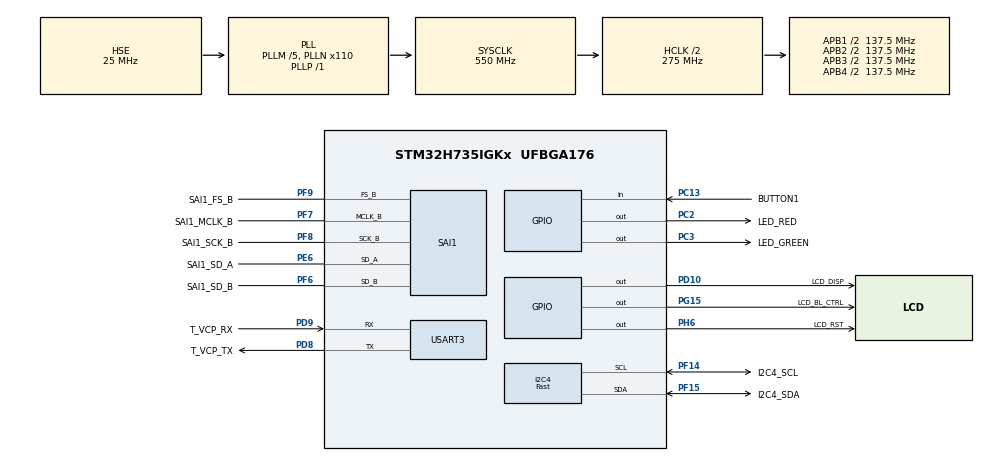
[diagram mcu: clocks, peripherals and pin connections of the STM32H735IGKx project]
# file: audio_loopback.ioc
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CORTEX_M7.CPU_DCache=Enabled
CORTEX_M7.CPU_ICache=Enabled
CORTEX_M7.IsBufferable_Spec=MPU_ACCESS_BUFFERABLE
CORTEX_M7.default_mode_Activation=1
Dma.Request0=SAI1_A
Dma.Request1=SAI1_B
Dma.SAI1_A.0.Direction=DMA_PERIPH_TO_MEMORY
Dma.SAI1_A.0.EventEnable=DISABLE
Dma.SAI1_A.0.FIFOMode=DMA_FIFOMODE_DISABLE
Dma.SAI1_A.0.Instance=DMA1_Stream0
Dma.SAI1_A.0.MemDataAlignment=DMA_MDATAALIGN_HALFWORD
Dma.SAI1_A.0.MemInc=DMA_MINC_ENABLE
Dma.SAI1_A.0.Mode=DMA_CIRCULAR
Dma.SAI1_A.0.PeriphDataAlignment=DMA_PDATAALIGN_HALFWORD
Dma.SAI1_A.0.PeriphInc=DMA_PINC_DISABLE
Dma.SAI1_A.0.Polarity=HAL_DMAMUX_REQ_GEN_RISING
Dma.SAI1_A.0.Priority=DMA_PRIORITY_HIGH
Dma.SAI1_A.0.RequestNumber=1
Dma.SAI1_A.0.SignalID=NONE
Dma.SAI1_A.0.SyncEnable=DISABLE
Dma.SAI1_A.0.SyncPolarity=HAL_DMAMUX_SYNC_NO_EVENT
Dma.SAI1_A.0.SyncRequestNumber=1
Dma.SAI1_A.0.SyncSignalID=NONE
Dma.SAI1_B.1.Direction=DMA_MEMORY_TO_PERIPH
Dma.SAI1_B.1.EventEnable=DISABLE
Dma.SAI1_B.1.FIFOMode=DMA_FIFOMODE_DISABLE
Dma.SAI1_B.1.Instance=DMA1_Stream1
Dma.SAI1_B.1.MemDataAlignment=DMA_MDATAALIGN_HALFWORD
Dma.SAI1_B.1.MemInc=DMA_MINC_ENABLE
Dma.SAI1_B.1.Mode=DMA_CIRCULAR
Dma.SAI1_B.1.PeriphDataAlignment=DMA_PDATAALIGN_HALFWORD
Dma.SAI1_B.1.PeriphInc=DMA_PINC_DISABLE
Dma.SAI1_B.1.Polarity=HAL_DMAMUX_REQ_GEN_RISING
Dma.SAI1_B.1.Priority=DMA_PRIORITY_HIGH
Dma.SAI1_B.1.RequestNumber=1
Dma.SAI1_B.1.SignalID=NONE
Dma.SAI1_B.1.SyncEnable=DISABLE
Dma.SAI1_B.1.SyncPolarity=HAL_DMAMUX_SYNC_NO_EVENT
Dma.SAI1_B.1.SyncRequestNumber=1
Dma.SAI1_B.1.SyncSignalID=NONE
I2C4.I2C_Speed_Mode=I2C_Fast
I2C4.Timing=0x0000020B
Mcu.Family=STM32H7
Mcu.Name=STM32H735IGKx
Mcu.Package=UFBGA176
NVIC.DMA1_Stream0_IRQn=true\:0\:0\:false\:false\:true\:false\:true\:true
NVIC.DMA1_Stream1_IRQn=true\:0\:0\:false\:false\:true\:false\:true\:true
NVIC.PriorityGroup=NVIC_PRIORITYGROUP_4
PA13(JTMS/SWDIO).GPIO_Label=JTMS
PA13(JTMS/SWDIO).Mode=Serial_Wire
PA13(JTMS/SWDIO).Signal=DEBUG_JTMS-SWDIO
PA14(JTCK/SWCLK).GPIO_Label=JTCK
PA14(JTCK/SWCLK).Mode=Serial_Wire
PA14(JTCK/SWCLK).Signal=DEBUG_JTCK-SWCLK
PC13.GPIO_Label=BUTTON1
PC13.Signal=GPIO_Input
PC14-OSC32_IN.Mode=LSE-External-Oscillator
PC14-OSC32_IN.Signal=RCC_OSC32_IN
PC15-OSC32_OUT.Mode=LSE-External-Oscillator
PC15-OSC32_OUT.Signal=RCC_OSC32_OUT
PC2.GPIO_Label=LED_RED
PC2.PinState=GPIO_PIN_SET
PC2.Signal=GPIO_Output
PC3.GPIO_Label=LED_GREEN
PC3.PinState=GPIO_PIN_SET
PC3.Signal=GPIO_Output
PD10.GPIO_Label=LCD_DISP
PD10.GPIO_Speed=GPIO_SPEED_FREQ_LOW
PD10.Signal=GPIO_Output
PD8.GPIO_Label=T_VCP_TX
PD8.GPIO_PuPd=GPIO_NOPULL
PD8.Mode=Asynchronous
PD8.Signal=USART3_TX
PD9.GPIO_Label=T_VCP_RX
PD9.GPIO_PuPd=GPIO_NOPULL
PD9.Mode=Asynchronous
PD9.Signal=USART3_RX
PE6.GPIO_Label=SAI1_SD_A
PE6.Mode=SAI_A_SyncSlave
PE6.Signal=SAI1_SD_A
PF14.GPIO_Label=I2C4_SCL
PF14.GPIO_Pu=GPIO_PULLUP
PF14.Mode=I2C
PF14.Signal=I2C4_SCL
PF15.GPIO_Label=I2C4_SDA
PF15.GPIO_Pu=GPIO_PULLUP
PF15.Mode=I2C
PF15.Signal=I2C4_SDA
PF6.GPIO_Label=SAI1_SD_B
PF6.Mode=SAI_B_MasterWithClock
PF6.Signal=SAI1_SD_B
PF7.GPIO_Label=SAI1_MCLK_B
PF7.Mode=SAI_B_MasterWithClock
PF7.Signal=SAI1_MCLK_B
PF8.GPIO_Label=SAI1_SCK_B
PF8.Mode=SAI_B_MasterWithClock
PF8.Signal=SAI1_SCK_B
PF9.GPIO_Label=SAI1_FS_B
PF9.Mode=SAI_B_MasterWithClock
PF9.Signal=SAI1_FS_B
PG15.GPIO_Label=LCD_BL_CTRL
PG15.GPIO_Speed=GPIO_SPEED_FREQ_LOW
PG15.Signal=GPIO_Output
PH0-OSC_IN.Mode=HSE-External-Oscillator
PH0-OSC_IN.Signal=RCC_OSC_IN
PH1-OSC_OUT.Mode=HSE-External-Oscillator
PH1-OSC_OUT.Signal=RCC_OSC_OUT
PH6.GPIO_Label=LCD_RST
PH6.GPIO_Speed=GPIO_SPEED_FREQ_LOW
PH6.Signal=GPIO_Output
ProjectManager.HeapSize=0x200
ProjectManager.StackSize=0x400
ProjectManager.TargetToolchain=STM32CubeIDE
RCC.ADCFreq_Value=11291666.666666666
RCC.APB1Freq_Value=137500000
RCC.APB2Freq_Value=137500000
RCC.APB3Freq_Value=137500000
RCC.APB4Freq_Value=137500000
RCC.CortexFreq_Value=550000000
RCC.D1PPRE=RCC_APB3_DIV2
RCC.D2PPRE1=RCC_APB1_DIV2
RCC.D2PPRE2=RCC_APB2_DIV2
RCC.D3PPRE=RCC_APB4_DIV2
RCC.DIVM1=5
RCC.DIVM2=25
RCC.DIVM3=5
RCC.DIVN1=110
RCC.DIVN2=271
RCC.DIVN3=48
RCC.DIVP1=1
RCC.DIVP2=24
RCC.DIVP3=30
RCC.DIVQ1=4
RCC.DIVQ3=30
RCC.DIVR3=30
RCC.HCLKFreq_Value=275000000
RCC.HPRE=RCC_HCLK_DIV2
RCC.I2C4CLockSelection=RCC_I2C4CLKSOURCE_PLL3
RCC.PLL2FRACN=0
RCC.PLL3FRACN=0
RCC.PLLFRACN=0
RCC.PLLSourceVirtual=RCC_PLLSOURCE_HSE
RCC.SAI1CLockSelection=RCC_SAI1CLKSOURCE_PLL2
RCC.SYSCLKFreq_VALUE=550000000
RCC.SYSCLKSource=RCC_SYSCLKSOURCE_PLLCLK
RCC.USART234578CLockSelection=RCC_USART234578CLKSOURCE_PLL3
RCC.USBCLockSelection=RCC_USBCLKSOURCE_HSI48
RCC.USBFreq_Value=48000000
SAI1.ActiveFrameLength-SAI_A_SyncSlave=32
SAI1.ActiveFrameLength-SAI_B_MasterWithClock=32
SAI1.AudioFrequency-SAI_B_MasterWithClock=SAI_AUDIO_FREQUENCY_44K
SAI1.DataSize-SAI_A_SyncSlave=SAI_DATASIZE_16
SAI1.DataSize-SAI_B_MasterWithClock=SAI_DATASIZE_16
SAI1.ErrorAudioFreq-SAI_B_MasterWithClock=0.24 %
SAI1.FIFOThreshold-SAI_B_MasterWithClock=SAI_FIFOTHRESHOLD_EMPTY
SAI1.FSDefinition-SAI_A_SyncSlave=SAI_FS_CHANNEL_IDENTIFICATION
SAI1.FSDefinition-SAI_B_MasterWithClock=SAI_FS_CHANNEL_IDENTIFICATION
SAI1.FSOffset-SAI_A_SyncSlave=SAI_FS_BEFOREFIRSTBIT
SAI1.FSOffset-SAI_B_MasterWithClock=SAI_FS_BEFOREFIRSTBIT
SAI1.FrameLength-SAI_A_SyncSlave=64
SAI1.FrameLength-SAI_B_MasterWithClock=64
SAI1.Instance-SAI_A_SyncSlave=SAI$Index_Block_A
SAI1.Instance-SAI_B_MasterWithClock=SAI$Index_Block_B
SAI1.MckOutput-SAI_B_MasterWithClock=SAI_MCK_OUTPUT_ENABLE
SAI1.RealAudioFreq-SAI_B_MasterWithClock=44.108 KHz
SAI1.SlotActive-SAI_A_SyncSlave=0x0000000F
SAI1.SlotActive-SAI_B_MasterWithClock=0x0000000F
SAI1.SlotNumber-SAI_A_SyncSlave=4
SAI1.SlotNumber-SAI_B_MasterWithClock=4
SAI1.TriState-SAI_A_SyncSlave=SAI_OUTPUT_RELEASED
SAI1.VirtualMode-SAI_A_SyncSlave=VM_SLAVE
SAI1.VirtualMode-SAI_B_MasterWithClock=VM_MASTER
SAI1.VirtualSlotActive-SAI_A_SyncSlave=SAI_SLOT_USERSETTING
SAI1.VirtualSlotActive-SAI_B_MasterWithClock=SAI_SLOT_USERSETTING
SAI1.VirtualSlotActive0-SAI_A_SyncSlave=true
SAI1.VirtualSlotActive0-SAI_B_MasterWithClock=true
SAI1.VirtualSlotActive1-SAI_A_SyncSlave=true
SAI1.VirtualSlotActive1-SAI_B_MasterWithClock=true
SAI1.VirtualSlotActive2-SAI_A_SyncSlave=true
SAI1.VirtualSlotActive2-SAI_B_MasterWithClock=true
SAI1.VirtualSlotActive3-SAI_A_SyncSlave=true
SAI1.VirtualSlotActive3-SAI_B_MasterWithClock=true
USART3.VirtualMode-Asynchronous=VM_ASYNC
board=STM32H735G-DK

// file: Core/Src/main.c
/* USER CODE BEGIN Header */
/**
  ******************************************************************************
  * @file           : main.c
  * @brief          : Main program body
  ******************************************************************************
  * @attention
  *
  * Copyright (c) 2022 STMicroelectronics.
  * All rights reserved.
  *
  * This software is licensed under terms that can be found in the LICENSE file
  * in the root directory of this software component.
  * If no LICENSE file comes with this software, it is provided AS-IS.
  *
  ******************************************************************************
  */
/* USER CODE END Header */
#include "main.h"
#include "dma.h"
#include "i2c.h"
#include "sai.h"
#include "usart.h"
#include "gpio.h"

/* USER CODE BEGIN Includes */

#include <stdio.h>
#include <string.h>
#include "../../Drivers/BSP/Components/wm8994/wm8994.h"

/* USER CODE END Includes */

/* USER CODE BEGIN PV */
typedef enum {
    BUFFER_OFFSET_NONE = 0,
    BUFFER_OFFSET_HALF = 1,
    BUFFER_OFFSET_FULL = 2,
} BUFFER_StateTypeDef;

#define AUDIO_BUFFER_SIZE  4096

volatile BUFFER_StateTypeDef audio_rec_buffer_state;

/* Buffer containing the PCM samples coming from the microphone */
int16_t RecordBuffer[AUDIO_BUFFER_SIZE] __ALIGNED(__SCB_DCACHE_LINE_SIZE);

/* Buffer used to stream the recorded PCM samples towards the audio codec. */
int16_t PlaybackBuffer[AUDIO_BUFFER_SIZE] __ALIGNED(__SCB_DCACHE_LINE_SIZE);

/* USER CODE END PV */

void SystemClock_Config(void);
void PeriphCommonClock_Config(void);
static void MPU_Config(void);

int main(void)
{

  /* MPU Configuration--------------------------------------------------------*/
  MPU_Config();

  /* Enable I-Cache---------------------------------------------------------*/
  SCB_EnableICache();

  /* Enable D-Cache---------------------------------------------------------*/
  SCB_EnableDCache();

  /* MCU Configuration--------------------------------------------------------*/

  /* Reset of all peripherals, Initializes the Flash interface and the Systick. */
  HAL_Init();

  /* Configure the system clock */
  SystemClock_Config();

/* Configure the peripherals common clocks */
  PeriphCommonClock_Config();

  /* Initialize all configured peripherals */
  MX_GPIO_Init();
  MX_DMA_Init();
  MX_I2C4_Init();
  MX_SAI1_Init();
  MX_USART3_UART_Init();
  /* USER CODE BEGIN 2 */
    printf("STM32F769I-Discovery Audio Loopback demo\r\n\r\n");

    /* Enable SAI peripheral to generate MCLK (required to start talking to codec!) */
    if (HAL_SAI_Transmit_DMA(&hsai_BlockB1, (uint8_t *) PlaybackBuffer, AUDIO_BUFFER_SIZE) != HAL_OK) {
        printf("SAI transmit start error\r\n");
        Error_Handler();
    }
    printf("SAI transmit start OK\r\n");

    if (HAL_SAI_Receive_DMA(&hsai_BlockA1, (uint8_t *) RecordBuffer, AUDIO_BUFFER_SIZE) != HAL_OK) {
        printf("SAI receive error\r\n");
        Error_Handler();
    }
    printf("SAI receive start OK\r\n");

    /* Initialize Audio Recorder with 4 channels to be used */
    if ((wm8994_ReadID(AUDIO_I2C_ADDRESS)) == CODEC_WM8994_ID) {
        /* Reset the Codec Registers */
        wm8994_Reset(AUDIO_I2C_ADDRESS);
        /* Initialize the audio driver structure */
        printf("Audio codec initialization OK\r\n");
    } else {
        printf("Audio codec initialization failed.\r\n");
        Error_Handler();
    }

    /* Initialize the codec internal registers */
    wm8994_Init(AUDIO_I2C_ADDRESS,
                CODEC_IN_LINE_1 | CODEC_OUT_HEADPHONE, 100, SAI_AUDIO_FREQUENCY_44K);

    /* Play the recorded buffer */
    if (wm8994_Play(AUDIO_I2C_ADDRESS) != 0) {
        printf("Codec play error\r\n");
        Error_Handler();
    } else {
    }
    printf("Audio loopback is ACTIVE!\r\n\r\n");

    audio_rec_buffer_state = BUFFER_OFFSET_NONE;
  /* USER CODE END 2 */

  /* Infinite loop */
  while (1)
  {

    /* USER CODE BEGIN 3 */
      HAL_GPIO_TogglePin(LED_GREEN_GPIO_Port, LED_GREEN_Pin);

      while(audio_rec_buffer_state == BUFFER_OFFSET_NONE);

      /* Copy half of the record buffer to the playback buffer */
      if (audio_rec_buffer_state == BUFFER_OFFSET_HALF) {
          SCB_InvalidateDCache_by_Addr((uint32_t *) RecordBuffer, sizeof(RecordBuffer) / 2);

          memcpy(PlaybackBuffer, RecordBuffer, sizeof(PlaybackBuffer) / 2);

          SCB_CleanDCache_by_Addr((uint32_t *) (PlaybackBuffer), sizeof(PlaybackBuffer) / 2);

      } else {
          SCB_InvalidateDCache_by_Addr((uint32_t *) (RecordBuffer + AUDIO_BUFFER_SIZE / 2), sizeof(RecordBuffer) / 2);

          memcpy(PlaybackBuffer + AUDIO_BUFFER_SIZE / 2, RecordBuffer + AUDIO_BUFFER_SIZE / 2,
                 sizeof(PlaybackBuffer) / 2);

          SCB_CleanDCache_by_Addr((uint32_t *) (PlaybackBuffer + AUDIO_BUFFER_SIZE / 2), sizeof(PlaybackBuffer) / 2);

      }

      /* Wait for next data */
      audio_rec_buffer_state = BUFFER_OFFSET_NONE;

  }
  /* USER CODE END 3 */
}

void SystemClock_Config(void)
{
  RCC_OscInitTypeDef RCC_OscInitStruct = {0};
  RCC_ClkInitTypeDef RCC_ClkInitStruct = {0};

  /** Supply configuration update enable
  */
  HAL_PWREx_ConfigSupply(PWR_DIRECT_SMPS_SUPPLY);

  /** Configure the main internal regulator output voltage
  */
  __HAL_PWR_VOLTAGESCALING_CONFIG(PWR_REGULATOR_VOLTAGE_SCALE0);

  while(!__HAL_PWR_GET_FLAG(PWR_FLAG_VOSRDY)) {}

  /** Macro to configure the PLL clock source
  */
  __HAL_RCC_PLL_PLLSOURCE_CONFIG(RCC_PLLSOURCE_HSE);

  /** Initializes the RCC Oscillators according to the specified parameters
  * in the RCC_OscInitTypeDef structure.
  */
  RCC_OscInitStruct.OscillatorType = RCC_OSCILLATORTYPE_HSE;
  RCC_OscInitStruct.HSEState = RCC_HSE_ON;
  RCC_OscInitStruct.PLL.PLLState = RCC_PLL_ON;
  RCC_OscInitStruct.PLL.PLLSource = RCC_PLLSOURCE_HSE;
  RCC_OscInitStruct.PLL.PLLM = 5;
  RCC_OscInitStruct.PLL.PLLN = 110;
  RCC_OscInitStruct.PLL.PLLP = 1;
  RCC_OscInitStruct.PLL.PLLQ = 4;
  RCC_OscInitStruct.PLL.PLLR = 2;
  RCC_OscInitStruct.PLL.PLLRGE = RCC_PLL1VCIRANGE_2;
  RCC_OscInitStruct.PLL.PLLVCOSEL = RCC_PLL1VCOWIDE;
  RCC_OscInitStruct.PLL.PLLFRACN = 0;
  if (HAL_RCC_OscConfig(&RCC_OscInitStruct) != HAL_OK)
  {
    Error_Handler();
  }

  /** Initializes the CPU, AHB and APB buses clocks
  */
  RCC_ClkInitStruct.ClockType = RCC_CLOCKTYPE_HCLK|RCC_CLOCKTYPE_SYSCLK
                              |RCC_CLOCKTYPE_PCLK1|RCC_CLOCKTYPE_PCLK2
                              |RCC_CLOCKTYPE_D3PCLK1|RCC_CLOCKTYPE_D1PCLK1;
  RCC_ClkInitStruct.SYSCLKSource = RCC_SYSCLKSOURCE_PLLCLK;
  RCC_ClkInitStruct.SYSCLKDivider = RCC_SYSCLK_DIV1;
  RCC_ClkInitStruct.AHBCLKDivider = RCC_HCLK_DIV2;
  RCC_ClkInitStruct.APB3CLKDivider = RCC_APB3_DIV2;
  RCC_ClkInitStruct.APB1CLKDivider = RCC_APB1_DIV2;
  RCC_ClkInitStruct.APB2CLKDivider = RCC_APB2_DIV2;
  RCC_ClkInitStruct.APB4CLKDivider = RCC_APB4_DIV2;

  if (HAL_RCC_ClockConfig(&RCC_ClkInitStruct, FLASH_LATENCY_3) != HAL_OK)
  {
    Error_Handler();
  }
}

void PeriphCommonClock_Config(void)
{
  RCC_PeriphCLKInitTypeDef PeriphClkInitStruct = {0};

  /** Initializes the peripherals clock
  */
  PeriphClkInitStruct.PeriphClockSelection = RCC_PERIPHCLK_I2C4|RCC_PERIPHCLK_SAI1
                              |RCC_PERIPHCLK_USART3;
  PeriphClkInitStruct.PLL2.PLL2M = 25;
  PeriphClkInitStruct.PLL2.PLL2N = 271;
  PeriphClkInitStruct.PLL2.PLL2P = 24;
  PeriphClkInitStruct.PLL2.PLL2Q = 2;
  PeriphClkInitStruct.PLL2.PLL2R = 2;
  PeriphClkInitStruct.PLL2.PLL2RGE = RCC_PLL2VCIRANGE_0;
  PeriphClkInitStruct.PLL2.PLL2VCOSEL = RCC_PLL2VCOMEDIUM;
  PeriphClkInitStruct.PLL2.PLL2FRACN = 0;
  PeriphClkInitStruct.PLL3.PLL3M = 5;
  PeriphClkInitStruct.PLL3.PLL3N = 48;
  PeriphClkInitStruct.PLL3.PLL3P = 30;
  PeriphClkInitStruct.PLL3.PLL3Q = 30;
  PeriphClkInitStruct.PLL3.PLL3R = 30;
  PeriphClkInitStruct.PLL3.PLL3RGE = RCC_PLL3VCIRANGE_2;
  PeriphClkInitStruct.PLL3.PLL3VCOSEL = RCC_PLL3VCOWIDE;
  PeriphClkInitStruct.PLL3.PLL3FRACN = 0;
  PeriphClkInitStruct.Sai1ClockSelection = RCC_SAI1CLKSOURCE_PLL2;
  PeriphClkInitStruct.Usart234578ClockSelection = RCC_USART234578CLKSOURCE_PLL3;
  PeriphClkInitStruct.I2c4ClockSelection = RCC_I2C4CLKSOURCE_PLL3;
  if (HAL_RCCEx_PeriphCLKConfig(&PeriphClkInitStruct) != HAL_OK)
  {
    Error_Handler();
  }
}

/* USER CODE BEGIN 4 */
int __io_putchar(int ch) {
    HAL_UART_Transmit(&huart3, (uint8_t *) &ch, 1, 0xFFFF);

    return ch;
}

void HAL_SAI_RxCpltCallback(SAI_HandleTypeDef *hsai) {
    audio_rec_buffer_state = BUFFER_OFFSET_FULL;
}

void HAL_SAI_RxHalfCpltCallback(SAI_HandleTypeDef *hsai) {
    audio_rec_buffer_state = BUFFER_OFFSET_HALF;
}

void HAL_SAI_ErrorCallback(SAI_HandleTypeDef *hsai) {
    Error_Handler();
}

/* USER CODE END 4 */

/* MPU Configuration */

void MPU_Config(void)
{
  MPU_Region_InitTypeDef MPU_InitStruct = {0};

  /* Disables the MPU */
  HAL_MPU_Disable();

  /** Initializes and configures the Region and the memory to be protected
  */
  MPU_InitStruct.Enable = MPU_REGION_ENABLE;
  MPU_InitStruct.Number = MPU_REGION_NUMBER0;
  MPU_InitStruct.BaseAddress = 0x0;
  MPU_InitStruct.Size = MPU_REGION_SIZE_4GB;
  MPU_InitStruct.SubRegionDisable = 0x87;
  MPU_InitStruct.TypeExtField = MPU_TEX_LEVEL0;
  MPU_InitStruct.AccessPermission = MPU_REGION_NO_ACCESS;
  MPU_InitStruct.DisableExec = MPU_INSTRUCTION_ACCESS_DISABLE;
  MPU_InitStruct.IsShareable = MPU_ACCESS_SHAREABLE;
  MPU_InitStruct.IsCacheable = MPU_ACCESS_NOT_CACHEABLE;
  MPU_InitStruct.IsBufferable = MPU_ACCESS_BUFFERABLE;

  HAL_MPU_ConfigRegion(&MPU_InitStruct);
  /* Enables the MPU */
  HAL_MPU_Enable(MPU_PRIVILEGED_DEFAULT);

}

void Error_Handler(void)
{
  /* USER CODE BEGIN Error_Handler_Debug */
    printf(">>>>Error Handler<<<<<\r\n");
    __BKPT(0);
  /* User can add his own implementation to report the HAL error return state */
  __disable_irq();
  while (1)
  {
      __WFI();
  }
  /* USER CODE END Error_Handler_Debug */
}
